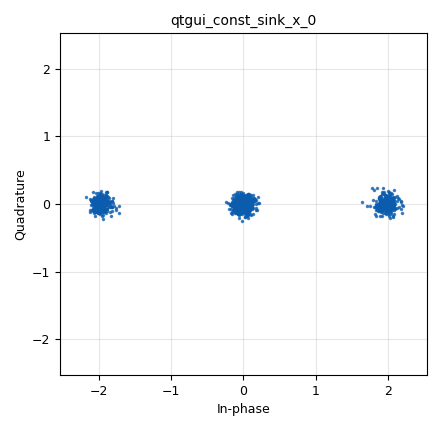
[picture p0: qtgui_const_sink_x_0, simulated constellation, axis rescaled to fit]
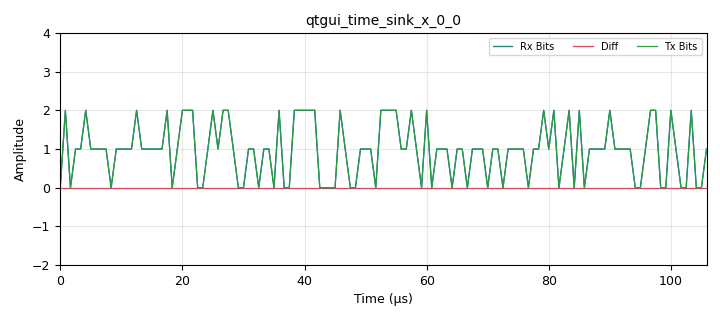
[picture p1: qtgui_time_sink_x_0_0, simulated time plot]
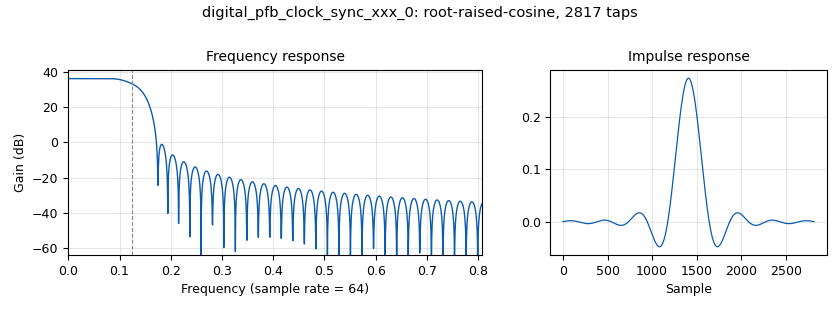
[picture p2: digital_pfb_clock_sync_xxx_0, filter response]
options:
  parameters:
    author: Tzu-Chiao Lin
    generate_options: qt_gui
    id: AirComp_BPSK
    output_language: python
    title: AirComp_BPSK
  states: {}

blocks:
- name: bpsk
  id: variable_constellation
  parameters:
    precision: '8'
    type: bpsk
  states: {}
- name: delay
  id: variable_qtgui_range
  parameters:
    comment: 0,3,1,1
    gui_hint: 0,3,1,1
    label: Delay
    start: '0'
    step: '1'
    stop: '200'
    value: '29'
  states: {}
- name: excess_bw
  id: variable
  parameters:
    value: '0.35'
  states: {}
- name: freq
  id: variable
  parameters:
    value: 2.4e9
  states: {}
- name: freq_offset
  id: variable_qtgui_range
  parameters:
    comment: 0,2,1,1
    gui_hint: 0,2,1,1
    label: 'Channel: Frequency Offset'
    start: '-0.1'
    step: '0.001'
    stop: '0.1'
    value: '0.00'
  states: {}
- name: loop_order
  id: variable
  parameters:
    value: '2'
  states: {}
- name: nfilts
  id: variable
  parameters:
    value: '64'
  states: {}
- name: noise_volt
  id: variable_qtgui_range
  parameters:
    comment: 0,0,1,1
    gui_hint: 0,0,1,1
    label: 'Channel: Noise Voltage'
    orient: QtCore.Qt.Vertical
    start: '0'
    step: '0.01'
    stop: '1'
    value: '0.1'
  states: {}
- name: phase_bw
  id: variable
  parameters:
    value: '0.0628'
  states: {}
- name: rrc_taps
  id: variable
  parameters:
    value: firdes.root_raised_cosine(nfilts, nfilts, 1.0/float(sps), 0.35, 11*sps*nfilts)
  states: {}
- name: samp_rate
  id: variable
  parameters:
    value: '1200000'
  states: {}
- name: sps
  id: variable
  parameters:
    value: '4'
  states: {}
- name: taps
  id: variable
  parameters:
    value: '[1.0 + 0.0j, ]'
  states: {}
- name: time_offset
  id: variable_qtgui_range
  parameters:
    comment: 0,1,1,1
    gui_hint: 0,1,1,1
    label: 'Channel: Timing Offset'
    start: '0.999'
    step: '0.0001'
    stop: '1.001'
    value: '1.000'
  states: {}
- name: timing_loop_bw
  id: variable
  parameters:
    value: '0.0628'
  states: {}
- name: variable_constellation_0
  id: variable_constellation
  parameters:
    const_points: '[-2, 0, 2]'
    dims: '1'
    normalization: digital.constellation.NO_NORMALIZATION
    precision: '8'
    rot_sym: '2'
    sym_map: '[-2, 0, 2]'
    type: calcdist
  states: {}
- name: analog_random_source_x_0
  id: analog_random_source_x
  parameters:
    max: '255'
    min: '0'
    num_samps: '10000000'
    repeat: 'False'
    type: byte
  states: {}
- name: analog_random_source_x_0_0
  id: analog_random_source_x
  parameters:
    max: '255'
    min: '0'
    num_samps: '10000000'
    repeat: 'False'
    type: byte
  states: {}
- name: blocks_add_xx_0
  id: blocks_add_xx
  parameters:
    type: complex
  states: {}
- name: blocks_add_xx_1
  id: blocks_add_xx
  parameters:
    type: float
  states: {}
- name: blocks_char_to_float_0_0
  id: blocks_char_to_float
  parameters:
    scale: '1'
  states: {}
- name: blocks_char_to_float_0_0_0
  id: blocks_char_to_float
  parameters:
    scale: '1'
  states: {}
- name: blocks_char_to_float_0_0_0_0
  id: blocks_char_to_float
  parameters:
    scale: '1'
  states: {}
- name: blocks_delay_0
  id: blocks_delay
  parameters:
    delay: int(delay)
    type: float
  states: {}
- name: blocks_float_to_char_0
  id: blocks_float_to_char
  parameters:
    scale: '1'
  states: {}
- name: blocks_sub_xx_0
  id: blocks_sub_xx
  parameters:
    type: float
  states: {}
- name: blocks_throttle2_0
  id: blocks_throttle2
  parameters:
    samples_per_second: samp_rate
    type: complex
  states: {}
- name: blocks_throttle2_0_0
  id: blocks_throttle2
  parameters:
    samples_per_second: samp_rate
    type: complex
  states: {}
- name: blocks_unpack_k_bits_bb_0_0
  id: blocks_unpack_k_bits_bb
  parameters:
    k: '8'
  states: {}
- name: blocks_unpack_k_bits_bb_0_0_0
  id: blocks_unpack_k_bits_bb
  parameters:
    k: '8'
  states: {}
- name: blocks_vector_source_x_0
  id: blocks_vector_source_x
  parameters:
    repeat: 'True'
    type: byte
    vector: (85, 0, 255 ,170, 170,0,0)
  states: {state: disabled}
- name: blocks_vector_source_x_0_0
  id: blocks_vector_source_x
  parameters:
    repeat: 'True'
    type: byte
    vector: (85, 0, 0 ,85, 170,255,255)
  states: {state: disabled}
- name: channels_channel_model_0
  id: channels_channel_model
  parameters:
    epsilon: time_offset
    freq_offset: freq_offset
    noise_voltage: noise_volt
    seed: '0'
    taps: taps
  states: {}
- name: channels_channel_model_0_0
  id: channels_channel_model
  parameters:
    epsilon: time_offset
    freq_offset: freq_offset*1.0001
    noise_voltage: noise_volt
    seed: '0'
    taps: taps
  states: {}
- name: digital_constellation_modulator_0
  id: digital_constellation_modulator
  parameters:
    constellation: bpsk
    differential: 'False'
    excess_bw: excess_bw
    samples_per_symbol: sps
  states: {}
- name: digital_constellation_modulator_0_0
  id: digital_constellation_modulator
  parameters:
    constellation: bpsk
    differential: 'False'
    excess_bw: excess_bw
    samples_per_symbol: sps
  states: {}
- name: digital_costas_loop_cc_0
  id: digital_costas_loop_cc
  parameters:
    order: loop_order
    use_snr: 'True'
    w: phase_bw
  states: {}
- name: digital_pfb_clock_sync_xxx_0
  id: digital_pfb_clock_sync_xxx
  parameters:
    filter_size: nfilts
    init_phase: nfilts/2
    loop_bw: timing_loop_bw
    max_dev: '1.5'
    osps: '1'
    sps: sps
    taps: rrc_taps
    type: ccf
  states: {}
- name: epy_block_0
  id: epy_block
  parameters:
    _source_code: |
      """
      Embedded Python Blocks:

      Each time this file is saved, GRC will instantiate the first class it finds
      to get ports and parameters of your block. The arguments to __init__  will
      be the parameters. All of them are required to have default values!
      """

      # Import necessary libraries
      import numpy as np
      from gnuradio import gr

      class blk(gr.sync_block):
          def __init__(self):
              gr.sync_block.__init__(
                  self,
                  name='AirComp BPSK',
                  in_sig=[np.complex64],            # Input signal: complex baseband signal
                  out_sig=[np.int8]                 # Output signal: demodulated symbols (0, 1, 2)
              )

          def work(self, input_items, output_items):
              in0 = input_items[0]
              out = output_items[0]
              
              # Extract the real part of the input signal
              real_part = np.real(in0)
              
              # Perform AirComp BPSK demodulation
              #out[:] = np.digitize(real_part, bins=[-1, 1])  # Digitize the signal to get indices 0, 1, 2
              indices = np.digitize(real_part, bins=[-1, 1])  # digitize returns 1 for <= -0.5, 2 for -0.5 < x <= 0.5, and 3 for > 0.5
              
              # Map indices 0, 1, 2 to -1, 0, 1 respectively
              mapping = np.array([0, 1, 2])
              out[:] = mapping[indices]
              return len(out)
  states: {}
- name: fec_ber_bf_0
  id: fec_ber_bf
  parameters:
    test_mode: 'False'
  states: {}
- name: qtgui_const_sink_x_0
  id: qtgui_const_sink_x
  parameters:
    comment: 2,0,1,4
    gui_hint: 2,0,1,4
    name: ''
    size: '1024'
    type: complex
  states: {}
- name: qtgui_number_sink_0
  id: qtgui_number_sink
  parameters:
    autoscale: 'True'
    graph_type: qtgui.NUM_GRAPH_HORIZ
    type: float
  states: {}
- name: qtgui_time_sink_x_0_0
  id: qtgui_time_sink_x
  parameters:
    comment: 1,0,1,4
    gui_hint: 1,0,1,4
    label1: Rx Bits
    label2: Diff
    label3: Tx Bits
    name: ''
    nconnections: '3'
    size: '128'
    srate: samp_rate
    tr_mode: qtgui.TRIG_MODE_AUTO
    type: float
    ymax: '4'
    ymin: '-2'
  states: {}
- name: virtual_sink_0
  id: virtual_sink
  parameters:
    stream_id: '"clock_sync"'
  states: {}
- name: virtual_sink_1
  id: virtual_sink
  parameters:
    stream_id: '"xmt_sig"'
  states: {}
- name: virtual_sink_1_0
  id: virtual_sink
  parameters:
    stream_id: '"xmt_sig1"'
  states: {}
- name: virtual_source_0
  id: virtual_source
  parameters:
    stream_id: '"clock_sync"'
  states: {}
- name: virtual_source_1
  id: virtual_source
  parameters:
    stream_id: '"xmt_sig"'
  states: {}
- name: virtual_source_1_0
  id: virtual_source
  parameters:
    stream_id: '"xmt_sig1"'
  states: {}

connections:
- [analog_random_source_x_0, '0', digital_constellation_modulator_0, '0']
- [analog_random_source_x_0, '0', virtual_sink_1, '0']
- [analog_random_source_x_0_0, '0', digital_constellation_modulator_0_0, '0']
- [analog_random_source_x_0_0, '0', virtual_sink_1_0, '0']
- [blocks_add_xx_0, '0', digital_pfb_clock_sync_xxx_0, '0']
- [blocks_add_xx_1, '0', blocks_delay_0, '0']
- [blocks_char_to_float_0_0, '0', blocks_sub_xx_0, '0']
- [blocks_char_to_float_0_0, '0', qtgui_time_sink_x_0_0, '0']
- [blocks_char_to_float_0_0_0, '0', blocks_add_xx_1, '0']
- [blocks_char_to_float_0_0_0_0, '0', blocks_add_xx_1, '1']
- [blocks_delay_0, '0', blocks_float_to_char_0, '0']
- [blocks_delay_0, '0', blocks_sub_xx_0, '1']
- [blocks_delay_0, '0', qtgui_time_sink_x_0_0, '2']
- [blocks_float_to_char_0, '0', fec_ber_bf_0, '1']
- [blocks_sub_xx_0, '0', qtgui_time_sink_x_0_0, '1']
- [blocks_throttle2_0, '0', channels_channel_model_0, '0']
- [blocks_throttle2_0_0, '0', channels_channel_model_0_0, '0']
- [blocks_unpack_k_bits_bb_0_0, '0', blocks_char_to_float_0_0_0, '0']
- [blocks_unpack_k_bits_bb_0_0_0, '0', blocks_char_to_float_0_0_0_0, '0']
- [channels_channel_model_0, '0', blocks_add_xx_0, '0']
- [channels_channel_model_0_0, '0', blocks_add_xx_0, '1']
- [digital_constellation_modulator_0, '0', blocks_throttle2_0, '0']
- [digital_constellation_modulator_0_0, '0', blocks_throttle2_0_0, '0']
- [digital_costas_loop_cc_0, '0', epy_block_0, '0']
- [digital_costas_loop_cc_0, '0', qtgui_const_sink_x_0, '0']
- [digital_pfb_clock_sync_xxx_0, '0', virtual_sink_0, '0']
- [epy_block_0, '0', blocks_char_to_float_0_0, '0']
- [epy_block_0, '0', fec_ber_bf_0, '0']
- [fec_ber_bf_0, '0', qtgui_number_sink_0, '0']
- [virtual_source_0, '0', digital_costas_loop_cc_0, '0']
- [virtual_source_1, '0', blocks_unpack_k_bits_bb_0_0, '0']
- [virtual_source_1_0, '0', blocks_unpack_k_bits_bb_0_0_0, '0']

metadata:
  file_format: 1
  grc_version: 3.10.9.2
